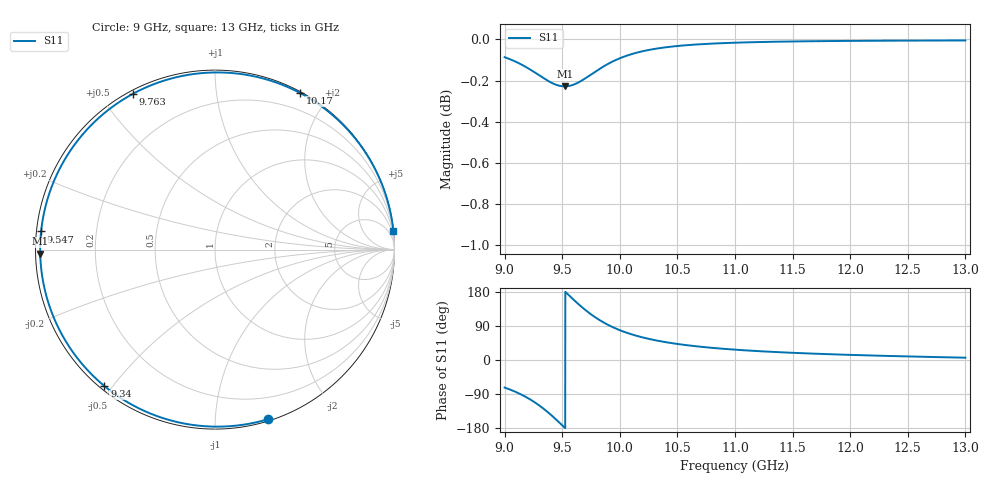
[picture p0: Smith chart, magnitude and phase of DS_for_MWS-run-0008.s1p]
! TOUCHSTONE file generated by CST DESIGN STUDIO
! Date and time: Tue Feb  4 14:24:15 2025
! Project name: C:\Work\MatlabApps\UnitCellOptimizationMatlab\CST\unitcell.cst
! Tree item: Tasks\Sweep1\SPara1\S-Parameters
! Header version: 2024
! Port assignment regex: !\s*Touchstone port\s*([0-9]+)\s*=\s*(CST MWS port|CST DES external port|CST DES block port)\s*(.+)\s* \(\"(.*)\"\)(\s*mode\s*([0-9]+))?.*
! Touchstone port assignment:
! Touchstone port 1 = CST DES external port 1 ("")
# GHz S MA R 50
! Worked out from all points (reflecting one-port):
!   4001 points, 9 GHz to 13 GHz, reference 50 ohm
!   lowest |S11| = -0.2 dB at 9.522 GHz (marker M1), VSWR 76.14, Z = 0.657 - j0.589 ohm
!   phase of S11 starts at -73 deg and turns -281 deg over the sweep
!   S11 on the Smith chart (normalised r, x): 9 GHz: 0.01, -1.36; 9.34 GHz: 0.01, -0.48; 9.547 GHz: 0.01, +0.05; 9.763 GHz: 0.01, +0.60; 10.17 GHz: 0.01, +1.68; 13 GHz: 0, +19
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9  0.9901 -72.7
9.093  0.9877 -83.8
9.199  0.9842 -100.0
9.273  0.9812 -114.0
9.34  0.9785 -129.0
9.384  0.9768 -140.0
9.429  0.9754 -152.0
9.5  0.9741 -172.2
9.522  0.9741 -178.6
9.547  0.9742 174.0
9.601  0.9751 158.5
9.661  0.9769 142.1
9.712  0.9789 129.3
9.763  0.9811 117.7
9.813  0.9832 107.5
9.867  0.9853 97.7
9.933  0.9876 87.5
10  0.9895 78.7
10.083  0.9914 69.6
10.173  0.993 61.6
10.322  0.9949 51.3
10.5  0.9963 42.3
10.722  0.9974 34.3
11  0.9982 27.3
11.5  0.9989 19.0
12  0.9992 13.5
12.5  0.9993 9.4
13  0.9994 6.1
